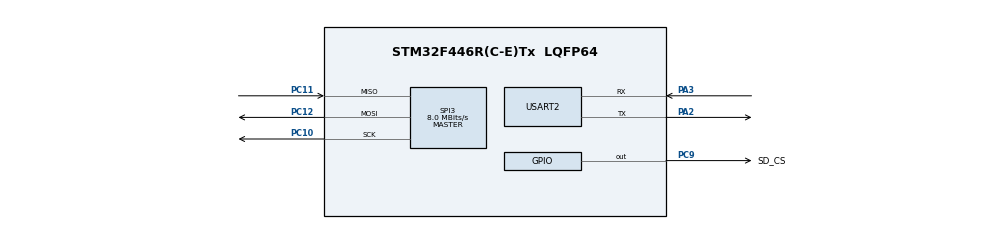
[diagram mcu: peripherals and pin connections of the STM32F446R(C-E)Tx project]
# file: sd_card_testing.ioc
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Mcu.Family=STM32F4
Mcu.Name=STM32F446R(C-E)Tx
Mcu.Package=LQFP64
NVIC.PriorityGroup=NVIC_PRIORITYGROUP_4
NVIC.USART2_IRQn=true\:0\:0\:false\:false\:true\:true\:true\:true
PA2.Mode=Asynchronous
PA2.Signal=USART2_TX
PA3.Mode=Asynchronous
PA3.Signal=USART2_RX
PC10.GPIO_PuPd=GPIO_PULLUP
PC10.Mode=Full_Duplex_Master
PC10.Signal=SPI3_SCK
PC11.GPIO_PuPd=GPIO_PULLUP
PC11.Mode=Full_Duplex_Master
PC11.Signal=SPI3_MISO
PC12.GPIO_PuPd=GPIO_PULLUP
PC12.Mode=Full_Duplex_Master
PC12.Signal=SPI3_MOSI
PC9.GPIO_Label=SD_CS
PC9.Signal=GPIO_Output
ProjectManager.HeapSize=0x200
ProjectManager.StackSize=0x400
ProjectManager.TargetToolchain=STM32CubeIDE
RCC.CortexFreq_Value=16000000
RCC.USBFreq_Value=96000000
RCC.VCOOutputFreq_Value=192000000
SPI3.CalculateBaudRate=8.0 MBits/s
SPI3.Direction=SPI_DIRECTION_2LINES
SPI3.Mode=SPI_MODE_MASTER
SPI3.VirtualType=VM_MASTER
USART2.VirtualMode=VM_ASYNC
VP_FATFS_VS_Generic.Mode=User_defined
board=custom

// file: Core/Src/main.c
/* USER CODE BEGIN Header */
/**
  ******************************************************************************
  * @file           : main.c
  * @brief          : Main program body
  ******************************************************************************
  * @attention
  *
  * Copyright (c) 2023 STMicroelectronics.
  * All rights reserved.
  *
  * This software is licensed under terms that can be found in the LICENSE file
  * in the root directory of this software component.
  * If no LICENSE file comes with this software, it is provided AS-IS.
  *
  ******************************************************************************
  */
/* USER CODE END Header */
#include "main.h"
#include "fatfs.h"

/* USER CODE BEGIN Includes */
#include <stdio.h>
#include <string.h>
#include <stdarg.h> //for va_list var arg functions
/* USER CODE END Includes */

/* USER CODE BEGIN PD */
void myprintf(const char *fmt, ...);
/* USER CODE END PD */

SPI_HandleTypeDef hspi3;

UART_HandleTypeDef huart2;

void SystemClock_Config(void);
static void MX_GPIO_Init(void);
static void MX_USART2_UART_Init(void);
static void MX_SPI3_Init(void);

/* USER CODE BEGIN 0 */
void myprintf(const char *fmt, ...) {
  static char buffer[256];
  va_list args;
  va_start(args, fmt);
  vsnprintf(buffer, sizeof(buffer), fmt, args);
  va_end(args);

  int len = strlen(buffer);
  HAL_UART_Transmit(&huart2, (uint8_t*)buffer, len, -1);

}
/* USER CODE END 0 */

int main(void)
{

  /* MCU Configuration--------------------------------------------------------*/

  /* Reset of all peripherals, Initializes the Flash interface and the Systick. */
  HAL_Init();

  /* Configure the system clock */
  SystemClock_Config();

  /* Initialize all configured peripherals */
  MX_GPIO_Init();
  MX_USART2_UART_Init();
  MX_SPI3_Init();
  MX_FATFS_Init();
  /* USER CODE BEGIN 2 */
  myprintf("\r\nInitializing SD Card...\n\r");
  HAL_Delay(1000);

  FATFS FatFs; //fatfs handle
  FIL fil;
  FRESULT fres; //result after operations

  fres = f_mount(&FatFs, "", 1);
  HAL_Delay(1000);
  if(fres != FR_OK){
	  myprintf("mounting error (%i)!\n\r", fres);
	  while(1);
  }
  myprintf("mounted successfully (%i)!\n\r", fres);

  DWORD free_clusters, free_sectors, total_sectors;

  FATFS* getFreeFs;

  fres = f_getfree("", &free_clusters, &getFreeFs);
  if (fres != FR_OK) {
	  myprintf("f_getfree error (%i)\r\n", fres);
  	  while(1);
  }

    //Formula comes from ChaN's documentation
  total_sectors = (getFreeFs->n_fatent - 2) * getFreeFs->csize;
  free_sectors = free_clusters * getFreeFs->csize;

  myprintf("SD card stats:\r\n%10lu KiB total drive space.\r\n%10lu KiB available.\r\n", total_sectors / 2, free_sectors / 2);

    //Now let's try to open file "test.txt"
  fres = f_open(&fil, "test.txt", FA_READ);
  if (fres != FR_OK) {
	  myprintf("f_open error (%i)\r\n");
	  while(1);
  }
  myprintf("I was able to open 'test.txt' for reading!\r\n");

    //Read 30 bytes from "test.txt" on the SD card
  BYTE readBuf[30];

    //We can either use f_read OR f_gets to get data out of files
    //f_gets is a wrapper on f_read that does some string formatting for us
  TCHAR* rres = f_gets((TCHAR*)readBuf, 30, &fil);
  if(rres != 0) {
	  myprintf("Read string from 'test.txt' contents: %s\r\n", readBuf);
  } else {
	  myprintf("f_gets error (%i)\r\n", fres);
  }

    //Be a tidy kiwi - don't forget to close your file!
  f_close(&fil);

    //Now let's try and write a file "write.txt"
  fres = f_open(&fil, "write.txt", FA_WRITE | FA_OPEN_ALWAYS | FA_CREATE_ALWAYS);
  if(fres == FR_OK) {
	  myprintf("I was able to open 'write.txt' for writing\r\n");
  } else {
	  myprintf("f_open error (%i)\r\n", fres);
  }

    //Copy in a string
  strncpy((char*)readBuf, "wooooooooooooooo!", 19);
  UINT bytesWrote;
  fres = f_write(&fil, readBuf, 19, &bytesWrote);
  if(fres == FR_OK) {
	  myprintf("Wrote %i bytes to 'write.txt'!\r\n", bytesWrote);
  } else {
	  myprintf("f_write error (%i)\r\n");
  }

    //Be a tidy kiwi - don't forget to close your file!
  f_close(&fil);

    //We're done, so de-mount the drive
  f_mount(NULL, "", 0);

  /* USER CODE END 2 */

  /* Infinite loop */
  while (1)
  {

  }
}

void SystemClock_Config(void)
{
  RCC_OscInitTypeDef RCC_OscInitStruct = {0};
  RCC_ClkInitTypeDef RCC_ClkInitStruct = {0};

  /** Configure the main internal regulator output voltage
  */
  __HAL_RCC_PWR_CLK_ENABLE();
  __HAL_PWR_VOLTAGESCALING_CONFIG(PWR_REGULATOR_VOLTAGE_SCALE3);

  /** Initializes the RCC Oscillators according to the specified parameters
  * in the RCC_OscInitTypeDef structure.
  */
  RCC_OscInitStruct.OscillatorType = RCC_OSCILLATORTYPE_HSI;
  RCC_OscInitStruct.HSIState = RCC_HSI_ON;
  RCC_OscInitStruct.HSICalibrationValue = RCC_HSICALIBRATION_DEFAULT;
  RCC_OscInitStruct.PLL.PLLState = RCC_PLL_NONE;
  if (HAL_RCC_OscConfig(&RCC_OscInitStruct) != HAL_OK)
  {
    Error_Handler();
  }

  /** Initializes the CPU, AHB and APB buses clocks
  */
  RCC_ClkInitStruct.ClockType = RCC_CLOCKTYPE_HCLK|RCC_CLOCKTYPE_SYSCLK
                              |RCC_CLOCKTYPE_PCLK1|RCC_CLOCKTYPE_PCLK2;
  RCC_ClkInitStruct.SYSCLKSource = RCC_SYSCLKSOURCE_HSI;
  RCC_ClkInitStruct.AHBCLKDivider = RCC_SYSCLK_DIV1;
  RCC_ClkInitStruct.APB1CLKDivider = RCC_HCLK_DIV1;
  RCC_ClkInitStruct.APB2CLKDivider = RCC_HCLK_DIV1;

  if (HAL_RCC_ClockConfig(&RCC_ClkInitStruct, FLASH_LATENCY_0) != HAL_OK)
  {
    Error_Handler();
  }
}

static void MX_SPI3_Init(void)
{

  /* SPI3 parameter configuration*/
  hspi3.Instance = SPI3;
  hspi3.Init.Mode = SPI_MODE_MASTER;
  hspi3.Init.Direction = SPI_DIRECTION_2LINES;
  hspi3.Init.DataSize = SPI_DATASIZE_8BIT;
  hspi3.Init.CLKPolarity = SPI_POLARITY_LOW;
  hspi3.Init.CLKPhase = SPI_PHASE_1EDGE;
  hspi3.Init.NSS = SPI_NSS_SOFT;
  hspi3.Init.BaudRatePrescaler = SPI_BAUDRATEPRESCALER_2;
  hspi3.Init.FirstBit = SPI_FIRSTBIT_MSB;
  hspi3.Init.TIMode = SPI_TIMODE_DISABLE;
  hspi3.Init.CRCCalculation = SPI_CRCCALCULATION_DISABLE;
  hspi3.Init.CRCPolynomial = 10;
  if (HAL_SPI_Init(&hspi3) != HAL_OK)
  {
    Error_Handler();
  }

}

static void MX_USART2_UART_Init(void)
{

  huart2.Instance = USART2;
  huart2.Init.BaudRate = 115200;
  huart2.Init.WordLength = UART_WORDLENGTH_8B;
  huart2.Init.StopBits = UART_STOPBITS_1;
  huart2.Init.Parity = UART_PARITY_NONE;
  huart2.Init.Mode = UART_MODE_TX_RX;
  huart2.Init.HwFlowCtl = UART_HWCONTROL_NONE;
  huart2.Init.OverSampling = UART_OVERSAMPLING_16;
  if (HAL_UART_Init(&huart2) != HAL_OK)
  {
    Error_Handler();
  }

}

static void MX_GPIO_Init(void)
{
  GPIO_InitTypeDef GPIO_InitStruct = {0};

  /* GPIO Ports Clock Enable */
  __HAL_RCC_GPIOA_CLK_ENABLE();
  __HAL_RCC_GPIOC_CLK_ENABLE();

  /*Configure GPIO pin Output Level */
  HAL_GPIO_WritePin(SD_CS_GPIO_Port, SD_CS_Pin, GPIO_PIN_RESET);

  /*Configure GPIO pin : SD_CS_Pin */
  GPIO_InitStruct.Pin = SD_CS_Pin;
  GPIO_InitStruct.Mode = GPIO_MODE_OUTPUT_PP;
  GPIO_InitStruct.Pull = GPIO_NOPULL;
  GPIO_InitStruct.Speed = GPIO_SPEED_FREQ_LOW;
  HAL_GPIO_Init(SD_CS_GPIO_Port, &GPIO_InitStruct);

}

void Error_Handler(void)
{
  __disable_irq();
  while (1)
  {
  }
}
